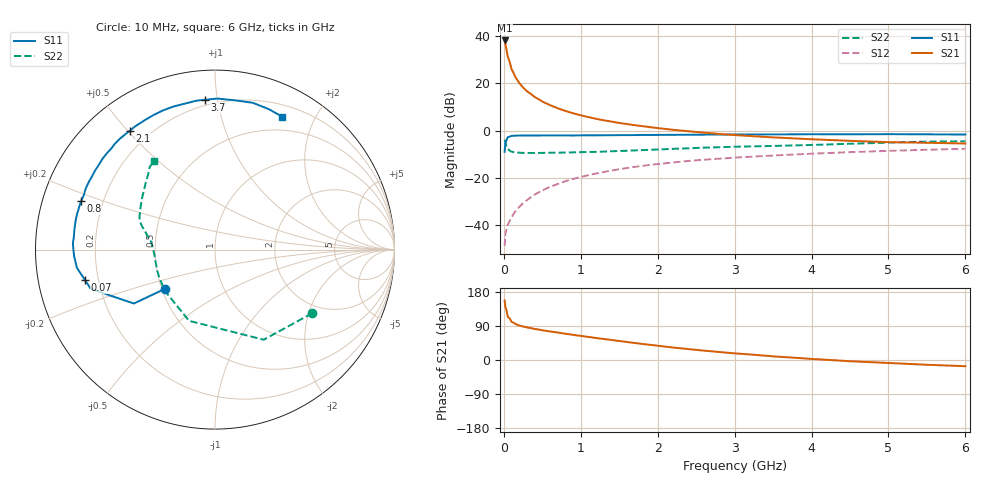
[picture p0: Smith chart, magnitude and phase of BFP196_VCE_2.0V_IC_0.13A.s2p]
! Infineon Technologies  Discrete & RF Semiconductors
! BFP196
! VCE =  2.0 V,  IC = 0.13 A
! Common Emitter S-Parameters:  Jan 2017
# GHz  S  MA  R  50
!  f  S11  S21  S12  S22
! GHz  MAG  ANG  MAG  ANG  MAG  ANG  MAG  ANG
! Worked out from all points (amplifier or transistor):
!   77 points, 10 MHz to 6 GHz, reference 50 ohm
!   highest |S21| = 38.2 dB at 10 MHz (marker M1)
!   |S21| within 3 dB of that: start of sweep to 29.29 MHz
!   unconditionally stable (mu >= 1): 197 MHz to 3.495 GHz; 3.516 GHz to 3.843 GHz; 4.119 GHz to end of sweep
!   at 130 MHz: K = 0.89, MSG = 29.6 dB, |S12| = -35.1 dB
!   at 2.2 GHz: K = 1.03, MAG = 5.8 dB, |S12| = -13.4 dB
!   at 6 GHz: K = 1.02, MAG = 0.3 dB, |S12| = -7.7 dB
!   S11 on the Smith chart (normalised r, x): 10 MHz: 0.52, -0.26; 70 MHz: 0.15, -0.11; 800 MHz: 0.12, +0.17; 2.1 GHz: 0.13, +0.51; 3.7 GHz: 0.17, +0.92; 6 GHz: 0.33, +1.57
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0.01  0.357 -142.0  81.18 157.2  0.0036 68.3  0.6475 -33.2
0.02  0.5428 -146.4  67.83 139.8  0.0065 61.0  0.5708 -61.6
0.05  0.726 -162.5  37.48 114.2  0.01 52.0  0.4223 -110.0
0.07  0.7432 -166.7  30.38 110.7  0.0118 55.0  0.385 -121.1
0.1  0.776 -172.5  20.14 100.7  0.0146 58.1  0.3618 -140.7
0.15  0.7857 -177.3  13.62 95.1  0.0196 64.3  0.3471 -153.5
0.2  0.7892 179.9  10.27 91.2  0.0242 68.9  0.3427 -160.5
0.25  0.7926 177.4  8.225 88.3  0.0292 69.3  0.3388 -164.8
0.3  0.7897 175.4  6.86 86.1  0.0338 69.8  0.3381 -168.3
0.4  0.791 171.9  5.175 82.0  0.0443 71.5  0.338 -172.4
0.5  0.7929 168.6  4.146 78.5  0.0544 71.1  0.3389 -175.3
0.6  0.7938 165.7  3.472 75.3  0.065 71.3  0.3418 -177.7
0.8  0.7936 160.2  2.621 69.3  0.0852 69.5  0.3448 178.9
0.9  0.7913 157.5  2.334 66.4  0.0953 67.9  0.3479 177.6
1.1  0.7978 152.0  1.937 60.9  0.1147 65.9  0.3538 174.9
1.5  0.8054 141.2  1.458 50.2  0.153 59.7  0.3717 170.4
2.1  0.8151 125.6  1.089 35.3  0.2045 50.4  0.4062 164.9
3.1  0.8296 104.4  0.79 16.1  0.2745 35.6  0.4611 155.6
3.7  0.8364 93.9  0.696 7.0  0.309 27.9  0.4843 148.2
4.1  0.8401 87.7  0.649 1.7  0.3308 22.9  0.5046 142.9
5.1  0.8424 74.2  0.569 -8.8  0.3779 10.9  0.5645 131.1
6  0.83 63.3  0.535 -16.4  0.4139 0.9  0.5971 124.7
